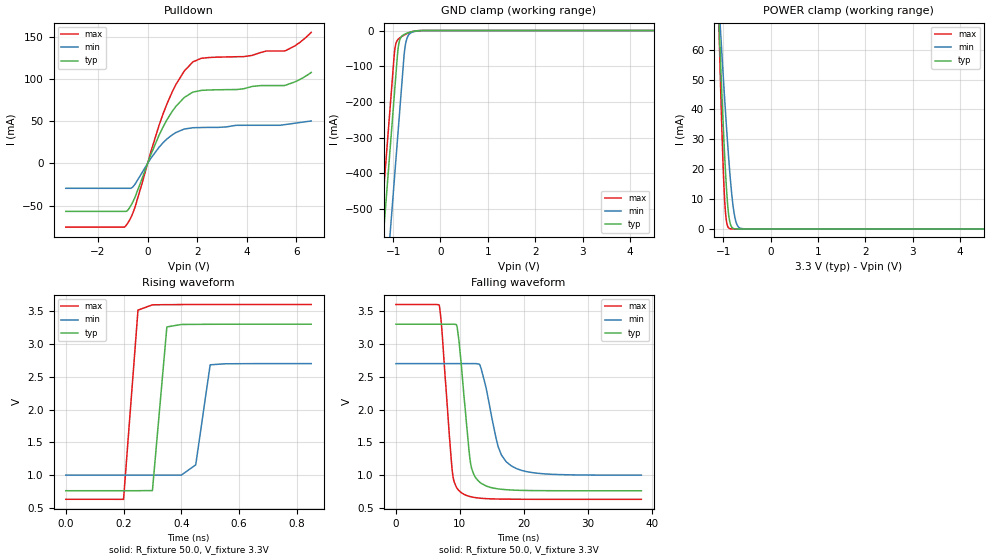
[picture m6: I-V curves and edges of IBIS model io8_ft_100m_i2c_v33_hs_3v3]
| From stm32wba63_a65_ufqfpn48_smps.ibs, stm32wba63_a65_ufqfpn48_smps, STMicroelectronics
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[Model]   io8_ft_100m_i2c_v33_hs_3v3
Model_type I/O_open_drain
Polarity   Non-Inverting
Enable   Active-Low
| CAP_THRESHOLD on pad IOFT is "UDTCAPC" :
| Rising=30.0% of vddiom   Falling=70.0% of vddiom
| C_comp min and max val. don't necessarily correlate with the min and max pvt
| but are the smallest and greatest pad capacitance found.
| var   typ   min   max
C_comp   3.81167pF  3.70520pF  3.86896pF
|C_comp_pulldown   3.81167pF  3.70520pF  3.86896pF
Vinl = 1.35V
Vinh = 1.8V
Vmeas = 1.65V   | Reference voltage for timing measurements
Cref  = 50.0pF   | Timing specification test load capacitance value
Rref  = 1.0MOhm   | Timing specification test load resistance value
Vref  = 1.815V   | Timing specification test load voltage
[Model Spec]
| TIME_THRESHOLD on pin ZII2CV11 is "CMOS" :
| Rising=50.0% of vdd   Falling=50.0% of vdd
Vinl 1.28450V 1.07450V 1.37050V
Vinh 1.79550V 1.51850V 1.89950V
| variable   typ   min   max
[Temperature Range] 25.0 140.0 -40.0
| variable   typ   min   max
[Voltage Range] 3.3V 2.7V 3.6V
| variable   typ   min   max
[POWER Clamp Reference] 3.3V 2.7V 3.6V
| variable   typ   min   max
[GND Clamp Reference] 0V 0V 0V
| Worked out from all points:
|   slope of the pulldown table from 0 to 0.495 V, typ, clamps not added: 14 ohm
|   GND clamp passes 1 mA (typ) near -0.51 V on its own axis
|   POWER clamp passes 1 mA (typ) near -0.83 V on its own axis
|   rising waveform, R_fixture 50.0, V_fixture 3.3V: 20-80 % time 30.5ps typ, 33.5ps min, 30.9ps max; typ from 0.764 V to 3.3 V
|   falling waveform, R_fixture 50.0, V_fixture 3.3V: 20-80 % time 1.43ns typ, 2.34ns min, 1.32ns max; typ from 3.3 V to 0.764 V
[POWER Clamp]
-3.3V     1.123A     753mA      1.645A
-1.09V    69.42mA    75.17mA    67.14mA
-1.08V    65.31mA    72.42mA    61.23mA
-1.06V    57.23mA    66.98mA    49.77mA
-1.01V    38.06mA    53.68mA    24.29mA
-970mV    24.36mA    43.46mA    9.575mA
-930mV    13.06mA    33.74mA    2.352mA
-870mV    3.065mA    20.56mA    165.9uA
-810mV    418.4uA    10.06mA    10.3uA
-760mV    69.41uA    4.321mA    1.009uA
-630mV    611.5nA    197uA      2.727nA
6.6V      0A         0A         0A
[GND Clamp]
-3.3V     -4.134A    -4.372A    -4.018A
-1.59V    -1.227A    -1.465A    -1.111A
-1.25V    -648.9mA   -886.9mA   -533mA
-980mV    -189.9mA   -427.9mA   -74mA
-960mV    -155.9mA   -393.9mA   -48.8mA
-910mV    -70.86mA   -308.9mA   -27.2mA
-880mV    -37.23mA   -257.9mA   -22.76mA
-770mV    -11.28mA   -71.59mA   -12.95mA
-730mV    -8.709mA   -32.74mA   -10.07mA
-630mV    -4.122mA   -6.943mA   -4.354mA
-370mV    -42.68uA   -212.2uA   -13.03uA
6.6V      2.311nA    506.4nA    1.057nA
| variable   typ   min   max
[Pullup Reference] 3.3V 2.7V 3.6V
| variable   typ   min   max
[Pulldown Reference] 0V 0V 0V
[Pulldown]
-3.3V     -56.7mA    -29.42mA   -75.36mA
-860mV    -56.67mA   -29.42mA   -72.94mA
-520mV    -40.69mA   -25.01mA   -52.64mA
460mV     33.25mA    19.09mA    44.92mA
800mV     52.54mA    29.36mA    71.75mA
1.14V     67.41mA    36.49mA    93.2mA
1.48V     77.97mA    40.67mA    109.3mA
1.83V     84.38mA    42.18mA    120.1mA
2.17V     86.37mA    42.45mA    124.3mA
3.88V     88.31mA    45.1mA     126.3mA
5.54V     92.28mA    45.89mA    133mA
6.6V      107.5mA    50.2mA     155mA
[Ramp]
dV/dt_r 1.5215V/251.298ps 1.01883V/341.03871ps 1.77967V/235.86944ps
dV/dt_f 1.52157V/1.42684ns 1.01888V/2.2968ns 1.77971V/1.31496ns
R_load = 50.0
| Removed startup time: 0s 0s 0s  .
| Removed end time: 850.0ps.
[Rising Waveform]
R_fixture   = 50.0
V_fixture   = 3.3V
V_fixture_min = 2.7V
V_fixture_max = 3.6V
0s        764mV      1.002V     633.8mV
200ps     764mV      1.002V     632.9mV
250ps     764mV      1.002V     3.514V
300ps     766.3mV    1.002V     3.595V
350ps     3.258V     1.002V     3.597V
400ps     3.296V     1.001V     3.599V
450ps     3.298V     1.159V     3.6V
500ps     3.299V     2.681V     3.6V
550ps     3.299V     2.697V     3.6V
850ps     3.3V       2.7V       3.6V
| Removed startup time: 0s 0s 0s  .
| Removed end time: 38.4ns.
[Falling Waveform]
R_fixture   = 50.0
V_fixture   = 3.3V
V_fixture_min = 2.7V
V_fixture_max = 3.6V
0s        3.3V       2.7V       3.6V
6.75ns    3.3V       2.7V       3.592V
8.85ns    3.301V     2.7V       1.041V
9.55ns    3.268V     2.7V       804.3mV
10.2ns    2.717V     2.7V       737mV
11.7ns    1.172V     2.7V       673.8mV
13.35ns   877.4mV    2.62V      649.7mV
16ns      792.7mV    1.435V     638.4mV
18.05ns   775.7mV    1.143V     635.8mV
38.4ns    764.1mV    1.002V     633.8mV
